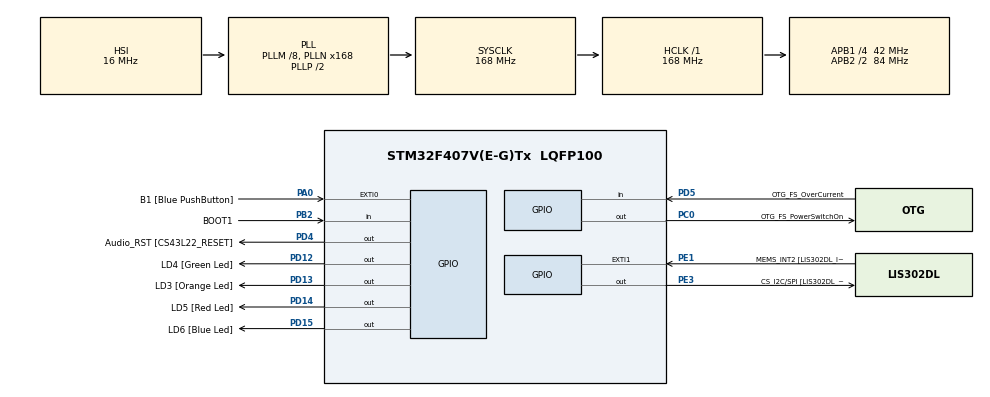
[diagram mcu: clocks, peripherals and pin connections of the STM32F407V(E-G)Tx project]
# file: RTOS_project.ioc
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Mcu.Family=STM32F4
Mcu.Name=STM32F407V(E-G)Tx
Mcu.Package=LQFP100
NVIC.PriorityGroup=NVIC_PRIORITYGROUP_4
NVIC.TIM6_DAC_IRQn=true\:0\:0\:false\:false\:true\:false\:true
NVIC.TimeBase=TIM6_DAC_IRQn
NVIC.TimeBaseIP=TIM6
PA0-WKUP.GPIO_Label=B1 [Blue PushButton]
PA0-WKUP.Signal=GPXTI0
PA10.GPIO_Label=OTG_FS_ID
PA10.GPIO_Mode=GPIO_MODE_AF_PP
PA10.GPIO_PuPd=GPIO_NOPULL
PA10.GPIO_Speed=GPIO_SPEED_FREQ_LOW
PA10.Signal=USB_OTG_FS_ID
PA11.GPIO_Label=OTG_FS_DM
PA11.GPIO_Mode=GPIO_MODE_AF_PP
PA11.GPIO_PuPd=GPIO_NOPULL
PA11.GPIO_Speed=GPIO_SPEED_FREQ_LOW
PA11.Signal=USB_OTG_FS_DM
PA12.GPIO_Label=OTG_FS_DP
PA12.GPIO_Mode=GPIO_MODE_AF_PP
PA12.GPIO_PuPd=GPIO_NOPULL
PA12.GPIO_Speed=GPIO_SPEED_FREQ_LOW
PA12.Signal=USB_OTG_FS_DP
PA13.GPIO_Label=SWDIO
PA13.Signal=SYS_JTMS-SWDIO
PA14.GPIO_Label=SWCLK
PA14.Signal=SYS_JTCK-SWCLK
PA4.GPIO_Label=I2S3_WS [CS43L22_LRCK]
PA4.GPIO_Mode=GPIO_MODE_AF_PP
PA4.GPIO_PuPd=GPIO_NOPULL
PA4.GPIO_Speed=GPIO_SPEED_FREQ_LOW
PA4.Signal=I2S3_WS
PA5.GPIO_Label=SPI1_SCK [LIS302DL_SCL/SPC]
PA5.GPIO_Mode=GPIO_MODE_AF_PP
PA5.GPIO_PuPd=GPIO_NOPULL
PA5.GPIO_Speed=GPIO_SPEED_FREQ_LOW
PA5.Signal=SPI1_SCK
PA6.GPIO_Label=SPI1_MISO [LIS302DL_SDO]
PA6.GPIO_Mode=GPIO_MODE_AF_PP
PA6.GPIO_PuPd=GPIO_NOPULL
PA6.GPIO_Speed=GPIO_SPEED_FREQ_LOW
PA6.Signal=SPI1_MISO
PA7.GPIO_Label=SPI1_MOSI [LIS302DL_SDA/SDI/SDO]
PA7.GPIO_Mode=GPIO_MODE_AF_PP
PA7.GPIO_PuPd=GPIO_NOPULL
PA7.GPIO_Speed=GPIO_SPEED_FREQ_LOW
PA7.Signal=SPI1_MOSI
PA9.GPIO_Label=VBUS_FS
PA9.GPIO_Mode=GPIO_MODE_INPUT
PA9.GPIO_PuPd=GPIO_NOPULL
PA9.Signal=USB_OTG_FS_VBUS
PB10.GPIO_Label=CLK_IN [MP45DT02_CLK]
PB10.GPIO_Mode=GPIO_MODE_AF_PP
PB10.GPIO_PuPd=GPIO_NOPULL
PB10.GPIO_Speed=GPIO_SPEED_FREQ_LOW
PB10.Signal=I2S2_CK
PB2.GPIO_Label=BOOT1
PB2.GPIO_Mode=GPIO_MODE_INPUT
PB2.GPIO_PuPd=GPIO_NOPULL
PB2.Signal=GPIO_Input
PB3.GPIO_Label=SWO
PB3.Signal=SYS_JTDO-SWO
PB6.GPIO_Label=Audio_SCL [CS43L22_SCL]
PB6.GPIO_Mode=GPIO_MODE_AF_OD
PB6.GPIO_PuPd=GPIO_NOPULL
PB6.GPIO_Speed=GPIO_SPEED_FREQ_LOW
PB6.Signal=I2C1_SCL
PB9.GPIO_Label=Audio_SDA [CS43L22_SDA]
PB9.GPIO_Mode=GPIO_MODE_AF_OD
PB9.GPIO_PuPd=GPIO_NOPULL
PB9.GPIO_Speed=GPIO_SPEED_FREQ_LOW
PB9.Signal=I2C1_SDA
PC0.GPIO_Label=OTG_FS_PowerSwitchOn
PC0.GPIO_PuPd=GPIO_NOPULL
PC0.GPIO_Speed=GPIO_SPEED_FREQ_LOW
PC0.PinState=GPIO_PIN_SET
PC0.Signal=GPIO_Output
PC10.GPIO_Label=I2S3_SCK [CS43L22_SCLK]
PC10.GPIO_Mode=GPIO_MODE_AF_PP
PC10.GPIO_PuPd=GPIO_NOPULL
PC10.GPIO_Speed=GPIO_SPEED_FREQ_LOW
PC10.Signal=I2S3_CK
PC12.GPIO_Label=I2S3_SD [CS43L22_SDIN]
PC12.GPIO_Mode=GPIO_MODE_AF_PP
PC12.GPIO_PuPd=GPIO_NOPULL
PC12.GPIO_Speed=GPIO_SPEED_FREQ_LOW
PC12.Signal=I2S3_SD
PC14-OSC32_IN.GPIO_Label=PC14-OSC32_IN
PC14-OSC32_IN.Signal=RCC_OSC32_IN
PC15-OSC32_OUT.GPIO_Label=PC15-OSC32_OUT
PC15-OSC32_OUT.Signal=RCC_OSC32_OUT
PC3.GPIO_Label=PDM_OUT [MP45DT02_DOUT]
PC3.GPIO_Mode=GPIO_MODE_AF_PP
PC3.GPIO_PuPd=GPIO_NOPULL
PC3.GPIO_Speed=GPIO_SPEED_FREQ_LOW
PC3.Signal=I2S2_SD
PC7.GPIO_Label=I2S3_MCK [CS43L22_MCLK]
PC7.GPIO_Mode=GPIO_MODE_AF_PP
PC7.GPIO_PuPd=GPIO_NOPULL
PC7.GPIO_Speed=GPIO_SPEED_FREQ_LOW
PC7.Signal=I2S3_MCK
PD12.GPIO_Label=LD4 [Green Led]
PD12.GPIO_PuPd=GPIO_NOPULL
PD12.GPIO_Speed=GPIO_SPEED_FREQ_LOW
PD12.Signal=GPIO_Output
PD13.GPIO_Label=LD3 [Orange Led]
PD13.GPIO_PuPd=GPIO_NOPULL
PD13.GPIO_Speed=GPIO_SPEED_FREQ_LOW
PD13.Signal=GPIO_Output
PD14.GPIO_Label=LD5 [Red Led]
PD14.GPIO_PuPd=GPIO_NOPULL
PD14.GPIO_Speed=GPIO_SPEED_FREQ_LOW
PD14.Signal=GPIO_Output
PD15.GPIO_Label=LD6 [Blue Led]
PD15.GPIO_PuPd=GPIO_NOPULL
PD15.GPIO_Speed=GPIO_SPEED_FREQ_LOW
PD15.Signal=GPIO_Output
PD4.GPIO_Label=Audio_RST [CS43L22_RESET]
PD4.GPIO_PuPd=GPIO_NOPULL
PD4.GPIO_Speed=GPIO_SPEED_FREQ_LOW
PD4.Signal=GPIO_Output
PD5.GPIO_Label=OTG_FS_OverCurrent
PD5.GPIO_Mode=GPIO_MODE_INPUT
PD5.GPIO_PuPd=GPIO_NOPULL
PD5.Signal=GPIO_Input
PE1.GPIO_Label=MEMS_INT2 [LIS302DL_INT2]
PE1.GPIO_ModeDefaultEXTI=GPIO_MODE_EVT_RISING
PE1.GPIO_PuPd=GPIO_NOPULL
PE1.Signal=GPXTI1
PE3.GPIO_Label=CS_I2C/SPI [LIS302DL_CS_I2C/SPI]
PE3.GPIO_PuPd=GPIO_NOPULL
PE3.GPIO_Speed=GPIO_SPEED_FREQ_LOW
PE3.Signal=GPIO_Output
PH0-OSC_IN.GPIO_Label=PH0-OSC_IN
PH0-OSC_IN.Signal=RCC_OSC_IN
PH1-OSC_OUT.GPIO_Label=PH1-OSC_OUT
PH1-OSC_OUT.Signal=RCC_OSC_OUT
ProjectManager.HeapSize=0x200
ProjectManager.StackSize=0x400
ProjectManager.TargetToolchain=STM32CubeIDE
RCC.48MHZClocksFreq_Value=48000000
RCC.AHBFreq_Value=168000000
RCC.APB1CLKDivider=RCC_HCLK_DIV4
RCC.APB1Freq_Value=42000000
RCC.APB1TimFreq_Value=84000000
RCC.APB2CLKDivider=RCC_HCLK_DIV2
RCC.APB2Freq_Value=84000000
RCC.APB2TimFreq_Value=168000000
RCC.CortexFreq_Value=168000000
RCC.HCLKFreq_Value=168000000
RCC.HSE_VALUE=8000000
RCC.HSI_VALUE=16000000
RCC.LSE_VALUE=32768
RCC.PLLM=8
RCC.PLLN=168
RCC.PLLQ=7
RCC.SYSCLKFreq_VALUE=168000000
RCC.SYSCLKSource=RCC_SYSCLKSOURCE_PLLCLK
RCC.VCOOutputFreq_Value=336000000
VP_SYS_VS_tim6.Mode=TIM6
board=STM32F407G-DISC1

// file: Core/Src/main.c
/* USER CODE BEGIN Header */
/**
  ******************************************************************************
  * @file           : main.c
  * @brief          : Main program body
  ******************************************************************************
  * @attention
  *
  * <h2><center>&copy; Copyright (c) 2021 STMicroelectronics.
  * All rights reserved.</center></h2>
  *
  * This software component is licensed by ST under BSD 3-Clause license,
  * the "License"; You may not use this file except in compliance with the
  * License. You may obtain a copy of the License at:
  *                        opensource.org/licenses/BSD-3-Clause
  *
  ******************************************************************************
  */
/* USER CODE END Header */
#include "main.h"

/* USER CODE BEGIN Includes */
#include <stdio.h>
#include "FreeRTOS.h"
#include "task.h"
/* USER CODE END Includes */

/* USER CODE BEGIN PV */

#define DWT_CTRL	(*(volatile uint32_t *)0xE0001000)

/* USER CODE END PV */

void SystemClock_Config(void);
static void MX_GPIO_Init(void);
/* USER CODE BEGIN PFP */
static void task1_handler(void *parameters);
static void task2_handler(void *parameters);
/* USER CODE END PFP */

int main(void)
{
  /* USER CODE BEGIN 1 */
  TaskHandle_t task1_handle;
  TaskHandle_t task2_handle;

  BaseType_t status;
  /* USER CODE END 1 */

  /* MCU Configuration--------------------------------------------------------*/

  /* Reset of all peripherals, Initializes the Flash interface and the Systick. */
  HAL_Init();

  /* Configure the system clock */
  SystemClock_Config();

  /* Initialize all configured peripherals */
  MX_GPIO_Init();
  /* USER CODE BEGIN 2 */

  /*Enable the CYCNT counter*/
  DWT_CTRL |= (1<<0);

  SEGGER_UART_init(500000);

  SEGGER_SYSVIEW_Conf();

  status = xTaskCreate(task1_handler, "Task-1", 200, "Hello world from Task-1", 2, &task1_handle);
  configASSERT(status = pdPASS);

  status = xTaskCreate(task2_handler, "Task-2", 200, "Hello world from Task-2", 2, &task2_handle);
  configASSERT(status = pdPASS);

  vTaskStartScheduler();
  //if program is here scheduler launch is failed

  /* USER CODE END 2 */

  /* Infinite loop */
  while (1)
  {

  }
}

void SystemClock_Config(void)
{
  RCC_OscInitTypeDef RCC_OscInitStruct = {0};
  RCC_ClkInitTypeDef RCC_ClkInitStruct = {0};

  /** Configure the main internal regulator output voltage
  */
  __HAL_RCC_PWR_CLK_ENABLE();
  __HAL_PWR_VOLTAGESCALING_CONFIG(PWR_REGULATOR_VOLTAGE_SCALE1);
  /** Initializes the RCC Oscillators according to the specified parameters
  * in the RCC_OscInitTypeDef structure.
  */
  RCC_OscInitStruct.OscillatorType = RCC_OSCILLATORTYPE_HSI;
  RCC_OscInitStruct.HSIState = RCC_HSI_ON;
  RCC_OscInitStruct.HSICalibrationValue = RCC_HSICALIBRATION_DEFAULT;
  RCC_OscInitStruct.PLL.PLLState = RCC_PLL_ON;
  RCC_OscInitStruct.PLL.PLLSource = RCC_PLLSOURCE_HSI;
  RCC_OscInitStruct.PLL.PLLM = 8;
  RCC_OscInitStruct.PLL.PLLN = 168;
  RCC_OscInitStruct.PLL.PLLP = RCC_PLLP_DIV2;
  RCC_OscInitStruct.PLL.PLLQ = 7;
  if (HAL_RCC_OscConfig(&RCC_OscInitStruct) != HAL_OK)
  {
    Error_Handler();
  }
  /** Initializes the CPU, AHB and APB buses clocks
  */
  RCC_ClkInitStruct.ClockType = RCC_CLOCKTYPE_HCLK|RCC_CLOCKTYPE_SYSCLK
                              |RCC_CLOCKTYPE_PCLK1|RCC_CLOCKTYPE_PCLK2;
  RCC_ClkInitStruct.SYSCLKSource = RCC_SYSCLKSOURCE_PLLCLK;
  RCC_ClkInitStruct.AHBCLKDivider = RCC_SYSCLK_DIV1;
  RCC_ClkInitStruct.APB1CLKDivider = RCC_HCLK_DIV4;
  RCC_ClkInitStruct.APB2CLKDivider = RCC_HCLK_DIV2;

  if (HAL_RCC_ClockConfig(&RCC_ClkInitStruct, FLASH_LATENCY_5) != HAL_OK)
  {
    Error_Handler();
  }
}

static void MX_GPIO_Init(void)
{
  GPIO_InitTypeDef GPIO_InitStruct = {0};

  /* GPIO Ports Clock Enable */
  __HAL_RCC_GPIOE_CLK_ENABLE();
  __HAL_RCC_GPIOC_CLK_ENABLE();
  __HAL_RCC_GPIOH_CLK_ENABLE();
  __HAL_RCC_GPIOA_CLK_ENABLE();
  __HAL_RCC_GPIOB_CLK_ENABLE();
  __HAL_RCC_GPIOD_CLK_ENABLE();

  /*Configure GPIO pin Output Level */
  HAL_GPIO_WritePin(CS_I2C_SPI_GPIO_Port, CS_I2C_SPI_Pin, GPIO_PIN_RESET);

  /*Configure GPIO pin Output Level */
  HAL_GPIO_WritePin(OTG_FS_PowerSwitchOn_GPIO_Port, OTG_FS_PowerSwitchOn_Pin, GPIO_PIN_SET);

  /*Configure GPIO pin Output Level */
  HAL_GPIO_WritePin(GPIOD, LD4_Pin|LD3_Pin|LD5_Pin|LD6_Pin
                          |Audio_RST_Pin, GPIO_PIN_RESET);

  /*Configure GPIO pin : CS_I2C_SPI_Pin */
  GPIO_InitStruct.Pin = CS_I2C_SPI_Pin;
  GPIO_InitStruct.Mode = GPIO_MODE_OUTPUT_PP;
  GPIO_InitStruct.Pull = GPIO_NOPULL;
  GPIO_InitStruct.Speed = GPIO_SPEED_FREQ_LOW;
  HAL_GPIO_Init(CS_I2C_SPI_GPIO_Port, &GPIO_InitStruct);

  /*Configure GPIO pin : OTG_FS_PowerSwitchOn_Pin */
  GPIO_InitStruct.Pin = OTG_FS_PowerSwitchOn_Pin;
  GPIO_InitStruct.Mode = GPIO_MODE_OUTPUT_PP;
  GPIO_InitStruct.Pull = GPIO_NOPULL;
  GPIO_InitStruct.Speed = GPIO_SPEED_FREQ_LOW;
  HAL_GPIO_Init(OTG_FS_PowerSwitchOn_GPIO_Port, &GPIO_InitStruct);

  /*Configure GPIO pin : PDM_OUT_Pin */
  GPIO_InitStruct.Pin = PDM_OUT_Pin;
  GPIO_InitStruct.Mode = GPIO_MODE_AF_PP;
  GPIO_InitStruct.Pull = GPIO_NOPULL;
  GPIO_InitStruct.Speed = GPIO_SPEED_FREQ_LOW;
  GPIO_InitStruct.Alternate = GPIO_AF5_SPI2;
  HAL_GPIO_Init(PDM_OUT_GPIO_Port, &GPIO_InitStruct);

  /*Configure GPIO pin : B1_Pin */
  GPIO_InitStruct.Pin = B1_Pin;
  GPIO_InitStruct.Mode = GPIO_MODE_IT_RISING;
  GPIO_InitStruct.Pull = GPIO_NOPULL;
  HAL_GPIO_Init(B1_GPIO_Port, &GPIO_InitStruct);

  /*Configure GPIO pin : I2S3_WS_Pin */
  GPIO_InitStruct.Pin = I2S3_WS_Pin;
  GPIO_InitStruct.Mode = GPIO_MODE_AF_PP;
  GPIO_InitStruct.Pull = GPIO_NOPULL;
  GPIO_InitStruct.Speed = GPIO_SPEED_FREQ_LOW;
  GPIO_InitStruct.Alternate = GPIO_AF6_SPI3;
  HAL_GPIO_Init(I2S3_WS_GPIO_Port, &GPIO_InitStruct);

  /*Configure GPIO pins : SPI1_SCK_Pin SPI1_MISO_Pin SPI1_MOSI_Pin */
  GPIO_InitStruct.Pin = SPI1_SCK_Pin|SPI1_MISO_Pin|SPI1_MOSI_Pin;
  GPIO_InitStruct.Mode = GPIO_MODE_AF_PP;
  GPIO_InitStruct.Pull = GPIO_NOPULL;
  GPIO_InitStruct.Speed = GPIO_SPEED_FREQ_LOW;
  GPIO_InitStruct.Alternate = GPIO_AF5_SPI1;
  HAL_GPIO_Init(GPIOA, &GPIO_InitStruct);

  /*Configure GPIO pin : BOOT1_Pin */
  GPIO_InitStruct.Pin = BOOT1_Pin;
  GPIO_InitStruct.Mode = GPIO_MODE_INPUT;
  GPIO_InitStruct.Pull = GPIO_NOPULL;
  HAL_GPIO_Init(BOOT1_GPIO_Port, &GPIO_InitStruct);

  /*Configure GPIO pin : CLK_IN_Pin */
  GPIO_InitStruct.Pin = CLK_IN_Pin;
  GPIO_InitStruct.Mode = GPIO_MODE_AF_PP;
  GPIO_InitStruct.Pull = GPIO_NOPULL;
  GPIO_InitStruct.Speed = GPIO_SPEED_FREQ_LOW;
  GPIO_InitStruct.Alternate = GPIO_AF5_SPI2;
  HAL_GPIO_Init(CLK_IN_GPIO_Port, &GPIO_InitStruct);

  /*Configure GPIO pins : LD4_Pin LD3_Pin LD5_Pin LD6_Pin
                           Audio_RST_Pin */
  GPIO_InitStruct.Pin = LD4_Pin|LD3_Pin|LD5_Pin|LD6_Pin
                          |Audio_RST_Pin;
  GPIO_InitStruct.Mode = GPIO_MODE_OUTPUT_PP;
  GPIO_InitStruct.Pull = GPIO_NOPULL;
  GPIO_InitStruct.Speed = GPIO_SPEED_FREQ_LOW;
  HAL_GPIO_Init(GPIOD, &GPIO_InitStruct);

  /*Configure GPIO pins : I2S3_MCK_Pin I2S3_SCK_Pin I2S3_SD_Pin */
  GPIO_InitStruct.Pin = I2S3_MCK_Pin|I2S3_SCK_Pin|I2S3_SD_Pin;
  GPIO_InitStruct.Mode = GPIO_MODE_AF_PP;
  GPIO_InitStruct.Pull = GPIO_NOPULL;
  GPIO_InitStruct.Speed = GPIO_SPEED_FREQ_LOW;
  GPIO_InitStruct.Alternate = GPIO_AF6_SPI3;
  HAL_GPIO_Init(GPIOC, &GPIO_InitStruct);

  /*Configure GPIO pin : VBUS_FS_Pin */
  GPIO_InitStruct.Pin = VBUS_FS_Pin;
  GPIO_InitStruct.Mode = GPIO_MODE_INPUT;
  GPIO_InitStruct.Pull = GPIO_NOPULL;
  HAL_GPIO_Init(VBUS_FS_GPIO_Port, &GPIO_InitStruct);

  /*Configure GPIO pins : OTG_FS_ID_Pin OTG_FS_DM_Pin OTG_FS_DP_Pin */
  GPIO_InitStruct.Pin = OTG_FS_ID_Pin|OTG_FS_DM_Pin|OTG_FS_DP_Pin;
  GPIO_InitStruct.Mode = GPIO_MODE_AF_PP;
  GPIO_InitStruct.Pull = GPIO_NOPULL;
  GPIO_InitStruct.Speed = GPIO_SPEED_FREQ_LOW;
  GPIO_InitStruct.Alternate = GPIO_AF10_OTG_FS;
  HAL_GPIO_Init(GPIOA, &GPIO_InitStruct);

  /*Configure GPIO pin : OTG_FS_OverCurrent_Pin */
  GPIO_InitStruct.Pin = OTG_FS_OverCurrent_Pin;
  GPIO_InitStruct.Mode = GPIO_MODE_INPUT;
  GPIO_InitStruct.Pull = GPIO_NOPULL;
  HAL_GPIO_Init(OTG_FS_OverCurrent_GPIO_Port, &GPIO_InitStruct);

  /*Configure GPIO pins : Audio_SCL_Pin Audio_SDA_Pin */
  GPIO_InitStruct.Pin = Audio_SCL_Pin|Audio_SDA_Pin;
  GPIO_InitStruct.Mode = GPIO_MODE_AF_OD;
  GPIO_InitStruct.Pull = GPIO_NOPULL;
  GPIO_InitStruct.Speed = GPIO_SPEED_FREQ_LOW;
  GPIO_InitStruct.Alternate = GPIO_AF4_I2C1;
  HAL_GPIO_Init(GPIOB, &GPIO_InitStruct);

  /*Configure GPIO pin : MEMS_INT2_Pin */
  GPIO_InitStruct.Pin = MEMS_INT2_Pin;
  GPIO_InitStruct.Mode = GPIO_MODE_EVT_RISING;
  GPIO_InitStruct.Pull = GPIO_NOPULL;
  HAL_GPIO_Init(MEMS_INT2_GPIO_Port, &GPIO_InitStruct);

}

/* USER CODE BEGIN 4 */
static void task1_handler(void *parameters)
{
	char msg[100];

	while(1)
	{
		snprintf(msg, 100, "%s\n", (char *)parameters);
		SEGGER_SYSVIEW_PrintfTarget(msg);
		taskYIELD();
	}
}

static void task2_handler(void *parameters)
{
	char msg[100];

	while(1)
	{
		snprintf(msg, 100, "%s\n", (char *)parameters);
		SEGGER_SYSVIEW_PrintfTarget(msg);
		taskYIELD();
	}
}
/* USER CODE END 4 */

void HAL_TIM_PeriodElapsedCallback(TIM_HandleTypeDef *htim)
{
  if (htim->Instance == TIM6) {
    HAL_IncTick();
  }
}

void Error_Handler(void)
{
  __disable_irq();
  while (1)
  {
  }
}

/************************ (C) COPYRIGHT STMicroelectronics *****END OF FILE****/
